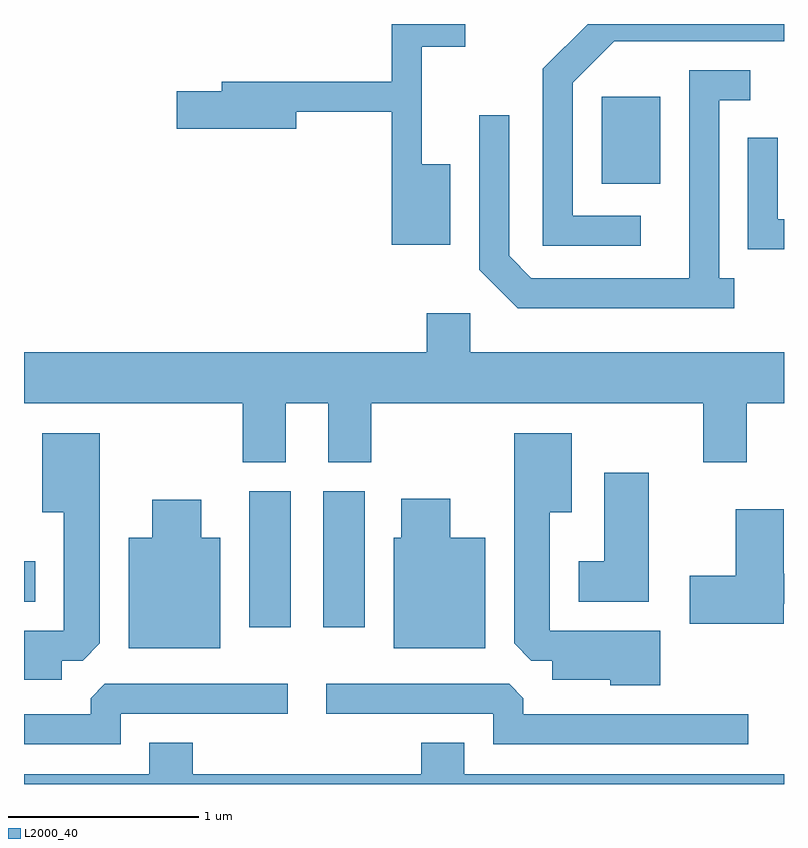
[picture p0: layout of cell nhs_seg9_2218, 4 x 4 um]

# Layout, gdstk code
import gdstk
lib = gdstk.Library(unit=1e-6, precision=1e-09)
def R(c, l, rs):  # rectangles x0, y0, x1, y1
    for r in rs: c.add(gdstk.rectangle(r[:2], r[2:], *l))
def P(c, l, *ps):  # polygons
    for p in ps: c.add(gdstk.Polygon(p, *l))
L2000_40 = (2000, 40)

nhs_seg9_2218 = lib.new_cell('nhs_seg9_2218')
R(nhs_seg9_2218, L2000_40, [(250.796,2037.256,251.014,2037.974), (251.186,2037.256,251.404,2037.974), (249.611,2037.391,249.669,2037.604), (252.651,2039.591,252.959,2040.049)])
P(nhs_seg9_2218, L2000_40, [(251.854,2039.694),(251.704,2039.694),(251.704,2040.311),(251.933,2040.311),(251.933,2040.432),(251.546,2040.432),(251.546,2040.129),(250.651,2040.129),(250.651,2040.079),(250.416,2040.079),(250.416,2039.881),(251.044,2039.881),(251.044,2039.971),(251.546,2039.971),(251.546,2039.271),(251.854,2039.271)],
  [(252.858,2039.424),(252.499,2039.424),(252.499,2040.124),(252.717,2040.341),(253.611,2040.341),(253.611,2040.432),(252.577,2040.432),(252.341,2040.197),(252.341,2039.266),(252.858,2039.266)],
  [(253.348,2039.094),(253.269,2039.094),(253.269,2040.031),(253.433,2040.031),(253.433,2040.189),(253.111,2040.189),(253.111,2039.094),(252.282,2039.094),(252.164,2039.212),(252.164,2039.953),(252.006,2039.953),(252.006,2039.139),(252.209,2038.936),(253.348,2038.936)],
  [(253.611,2039.404),(253.579,2039.404),(253.579,2039.833),(253.421,2039.833),(253.421,2039.246),(253.611,2039.246)],
  [(250.989,2038.436),(251.211,2038.436),(251.211,2038.126),(251.439,2038.126),(251.439,2038.436),(253.186,2038.436),(253.186,2038.126),(253.414,2038.126),(253.414,2038.436),(253.611,2038.436),(253.611,2038.704),(251.959,2038.704),(251.959,2038.909),(251.731,2038.909),(251.731,2038.704),(249.611,2038.704),(249.611,2038.436),(250.761,2038.436),(250.761,2038.126),(250.989,2038.126)],
  [(252.959,2037.239),(252.379,2037.239),(252.379,2037.861),(252.494,2037.861),(252.494,2038.279),(252.191,2038.279),(252.191,2037.172),(252.282,2037.081),(252.391,2037.081),(252.391,2036.981),(252.696,2036.981),(252.696,2036.951),(252.959,2036.951)],
  [(249.809,2037.081),(249.919,2037.081),(250.009,2037.172),(250.009,2038.279),(249.706,2038.279),(249.706,2037.861),(249.821,2037.861),(249.821,2037.239),(249.611,2037.239),(249.611,2036.981),(249.809,2036.981)],
  [(252.899,2038.069),(252.666,2038.069),(252.666,2037.604),(252.531,2037.604),(252.531,2037.391),(252.899,2037.391)],
  [(252.039,2037.729),(251.854,2037.729),(251.854,2037.934),(251.596,2037.934),(251.596,2037.729),(251.556,2037.729),(251.556,2037.146),(252.039,2037.146)],
  [(250.644,2037.729),(250.544,2037.729),(250.544,2037.929),(250.286,2037.929),(250.286,2037.729),(250.161,2037.729),(250.161,2037.146),(250.644,2037.146)],
  [(253.609,2037.381),(253.611,2037.381),(253.611,2037.539),(253.609,2037.539),(253.609,2037.879),(253.356,2037.879),(253.356,2037.529),(253.116,2037.529),(253.116,2037.276),(253.609,2037.276)],
  [(253.423,2036.799),(252.239,2036.799),(252.239,2036.884),(252.164,2036.959),(251.203,2036.959),(251.203,2036.801),(252.081,2036.801),(252.081,2036.641),(253.423,2036.641)],
  [(250.119,2036.801),(250.998,2036.801),(250.998,2036.959),(250.037,2036.959),(249.961,2036.884),(249.961,2036.799),(249.611,2036.799),(249.611,2036.641),(250.119,2036.641)],
  [(250.499,2036.649),(250.271,2036.649),(250.271,2036.484),(249.611,2036.484),(249.611,2036.432),(253.611,2036.432),(253.611,2036.484),(251.929,2036.484),(251.929,2036.649),(251.701,2036.649),(251.701,2036.484),(250.499,2036.484)])

lib.write_gds('nhs_seg9_2218.gds')
